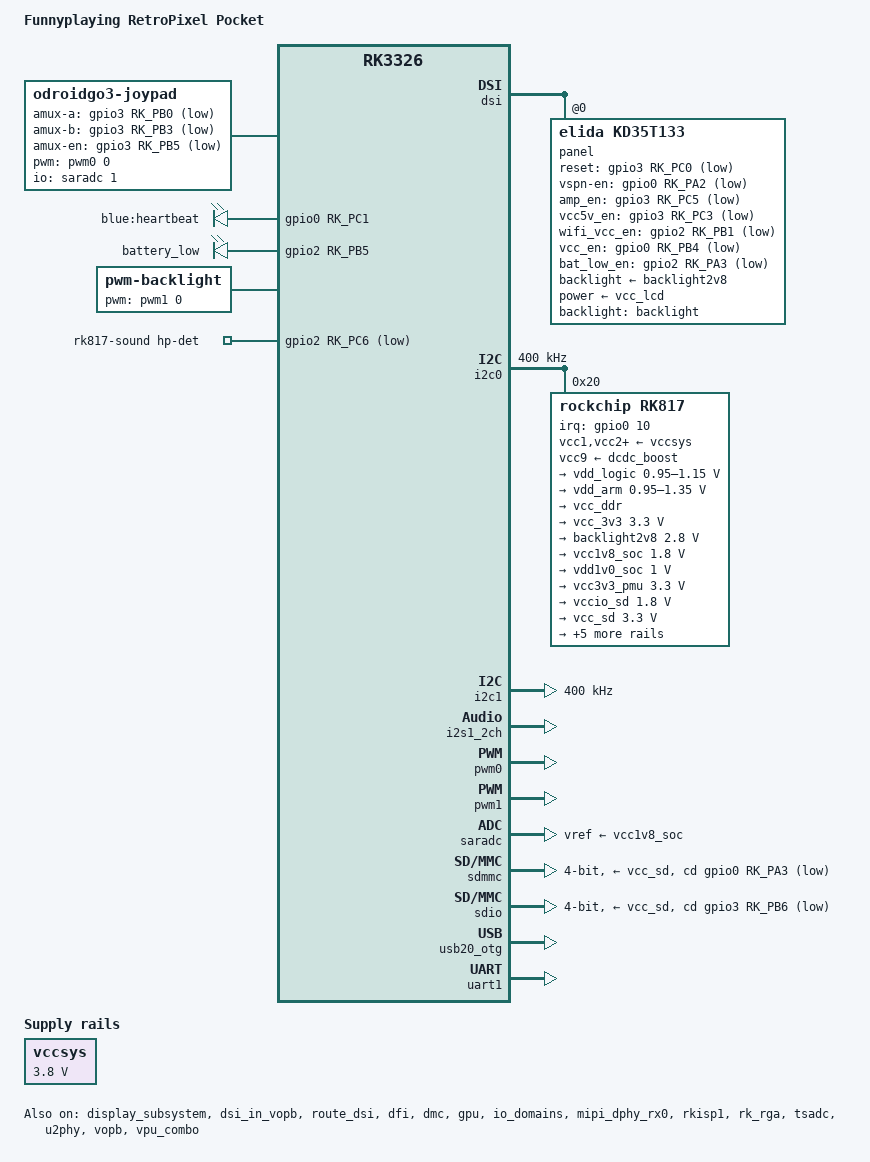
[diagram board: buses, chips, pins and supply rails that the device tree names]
// SPDX-License-Identifier: (GPL-2.0+ OR MIT)
/*
 * Copyright (c) 2020 Hardkernel Co., Ltd
 *
 * Funnyplaying RetroPixel Pocket: RK3326, 3.1in 720x720 MIPI-DSI panel.
 * Board values come from the vendor's rk3326-rppocket_v6_0-linux.dtb
 * (firmware V1.1.3), applied over the RG351MP tree this kernel already carries.
 */

/dts-v1/;
#include <dt-bindings/display/drm_mipi_dsi.h>
#include <dt-bindings/gpio/gpio.h>
#include <dt-bindings/input/input.h>
#include <dt-bindings/pinctrl/rockchip.h>
#include <dt-bindings/sensor-dev.h>
#include "rk3326.dtsi"
#include "rk3326-linux.dtsi"

/ {
	model = "Funnyplaying RetroPixel Pocket";
	compatible = "rockchip,rk3326-rppocket-linux", "rockchip,rk3326";

	chosen {
                bootargs = "";
	};

	joypad: odroidgo3-joypad {
                compatible = "odroidgo3-joypad";
                pwms = <&pwm0 0 200000000 0>;
                pwm-names = "enable";
                rumble-boost-weak = <0x0000>;
                rumble-boost-strong = <0x0000>;

                joypad-name = "GO-Super Gamepad";
                joypad-product = <0x1100>;
                joypad-revision = <0x0100>;

		status = "okay";
                /*
                  - odroidgo3-joypad sysfs list -
		   * for poll device interval(ms)
		   /sys/devices/platform/odroidgo3_joypad/poll_interval [rw]
		   ex) echo 20 > poll_interval
                   * for button-adc-fuzz
		   /sys/devices/platform/odroidgo3_joypad/adc_fuzz [r]
                   * for button-adc-flat
		   /sys/devices/platform/odroidgo3_joypad/adc_flat [r]

		   * for report control(1:enable, 0:disable)
		   /sys/devices/platform/odroidgo3_joypad/enable [rw]
		   * for adc calibration value setup(current adcs value -> cal value)
		   /sys/devices/platform/odroidgo3_joypad/adc_cal [rw]
		   ex) echo 0 > adc_cal

		   * for rumble period(ns)
		   /sys/devices/platform/odroidgo3_joypad/rumble_period
		   ex) echo 20000000 > rumble_duty_cycle
		   ex) cat rumble_duty_cycle -->get current duty cycle

		   * for rumble boost(0~65535)
		   /sys/devices/platform/odroidgo3_joypad/rumble_boost_weak
		   /sys/devices/platform/odroidgo3_joypad/rumble_boost_strong


		   * for amux data debug
		   * Joypad driver is disabled when using this sysfs.
		   /sys/devices/platform/odroidgo3_joypad/amux_debug [rw]
		   ex) echo 0 > amux_debug --> select amux channel
		   ex) cat amux_debug --> get adc data of seleted channel
                */

		/* gpio pincontrol setup */
                pinctrl-names = "default";
                pinctrl-0 = <&btn_pins>;
                pinctrl-1 = <&pwm0_pin>;

		/* Analog mux define */
		io-channel-names = "amux_adc";
		io-channels = <&saradc 1>;

		/* adc mux channel count */
		amux-count = <4>;
		/* adc mux select(a,b) gpio */
		amux-a-gpios = <&gpio3 RK_PB0 GPIO_ACTIVE_LOW>;
		amux-b-gpios = <&gpio3 RK_PB3 GPIO_ACTIVE_LOW>;
		/* adc mux enable gpio */
		amux-en-gpios = <&gpio3 RK_PB5 GPIO_ACTIVE_LOW>;

		/* adc calculate scale */
		button-adc-scale = <2>;

		/* adc deadzone range  */
		button-adc-deadzone = <64>;

		/*
		  specifies fuzz value that is used to filter noise from
		  the event stream.
		*/
		button-adc-fuzz = <32>;
		button-adc-flat = <32>;

		/*
		  Analog Stick data tuning value(precent)
		  p = positive direction, n = negative direction
		  report value = (real_adc_data * tuning_value) / 100
		*/
		abs_x-p-tuning = <200>;
		abs_x-n-tuning = <200>;

		abs_y-p-tuning = <200>;
		abs_y-n-tuning = <200>;

		abs_rx-p-tuning = <200>;
		abs_rx-n-tuning = <200>;

		abs_ry-p-tuning = <200>;
		abs_ry-n-tuning = <200>;

		/* poll device interval (ms), adc read interval */
		poll-interval = <10>;

		/* required for RG351MP */
		invert-absx;
		invert-absy;

		/* gpio button auto repeat set value : default disable */
		/*
			autorepeat;
		*/

		/*
		      *** ODROIDGO3-Advance Switch layoout ***
		|------------------------------------------------|
		| sw15  sw21        sw10   sw9        sw20  sw16 |
		|------------------------------------------------|
		|      sw19                            sw22      |
		|              |-------------------|             |
		|     sw1      |                   |      sw8    |
		|  sw3   sw4   |                   |   sw7   sw5 |
		|     sw2      |    LCD Display    |      sw6    |
		|              |                   |             |
		|              |                   |             |
		|              |-------------------|             |
		|  sw11 sw12        | sd-slot |       sw13 sw14  |
		|-------------------|         |------------------|
		*/
                /*
                    joypad driver is poll-device driver.
                    poll-device is does not support wakeup-source.
		*/
                sw1 {
                        gpios = <&gpio1 RK_PB4 GPIO_ACTIVE_LOW>;
                        label = "GPIO DPAD-UP";
                        linux,code = <BTN_DPAD_UP>; // 0x220
                };
                sw2 {
                        gpios = <&gpio1 RK_PB5 GPIO_ACTIVE_LOW>;
                        label = "GPIO DPAD-DOWN";
                        linux,code = <BTN_DPAD_DOWN>; // 0x221
                };
                sw3 {
                        gpios = <&gpio1 RK_PB6 GPIO_ACTIVE_LOW>;
                        label = "GPIO DPAD-LEFT";
                        linux,code = <BTN_DPAD_LEFT>; // 0x222
                };
                sw4 {
                        gpios = <&gpio1 RK_PB7 GPIO_ACTIVE_LOW>;
                        label = "GPIO DPAD-RIGHT";
                        linux,code = <BTN_DPAD_RIGHT>; // 0x223
                };
                sw5 {
                        gpios = <&gpio1 RK_PA2 GPIO_ACTIVE_LOW>;
                        label = "GPIO KEY BTN-A";
                        linux,code = <BTN_EAST>; // 0x131
                };
                sw6 {
                        gpios = <&gpio1 RK_PA5 GPIO_ACTIVE_LOW>;
                        label = "GPIO BTN-B";
                        linux,code = <BTN_SOUTH>; // 0x130
                };
                sw7 {
                        gpios = <&gpio1 RK_PA6 GPIO_ACTIVE_LOW>;
                        label = "GPIO BTN-Y";
                        linux,code = <BTN_WEST>; // 0x134
                };
                sw8 {
                        gpios = <&gpio1 RK_PA7 GPIO_ACTIVE_LOW>;
                        label = "GPIO BTN-X";
                        linux,code = <BTN_NORTH>; // 0x133
                };
                sw11 {
                        gpios = <&gpio2 RK_PA2 GPIO_ACTIVE_LOW>;
                        label = "GPIO F3";
                        linux,code = <BTN_TRIGGER_HAPPY3>; // 0x2c2
                };
                sw12 {
                        gpios = <&gpio2 RK_PA4 GPIO_ACTIVE_LOW>;
                        label = "GPIO F4";
                        linux,code = <BTN_TRIGGER_HAPPY4>; // 0x2c3
                };
                /*sw14 {
                        gpios = <&gpio2 RK_PA5 GPIO_ACTIVE_LOW>;
                        label = "GPIO F6";
                        linux,code = <BTN_TRIGGER_HAPPY6>; // 0x13c
                };*/
                sw15 {
                        gpios = <&gpio2 RK_PA6 GPIO_ACTIVE_LOW>;
                        label = "GPIO TOP-LEFT";
                        linux,code = <BTN_TL>; // 0x02
                };
                sw16 {
                        gpios = <&gpio2 RK_PA7 GPIO_ACTIVE_LOW>;
                        label = "GPIO TOP-RIGHT";
                        linux,code = <BTN_TR>; // 0x05
                };
                sw19 {
                        gpios = <&gpio3 RK_PB1 GPIO_ACTIVE_LOW>;
                        label = "GPIO F1";
                        linux,code = <BTN_TRIGGER_HAPPY1>;
                };
                sw20 {
                        gpios = <&gpio3 RK_PB7 GPIO_ACTIVE_LOW>;
                        label = "GPIO TOP-RIGHT2";
                        linux,code = <BTN_TR2>;
                };
                sw21 {
                        gpios = <&gpio3 RK_PB2 GPIO_ACTIVE_LOW>;
                        label = "GPIO TOP-LEFT2";
                        linux,code = <BTN_TL2>;
                };
                sw22 {
                        gpios = <&gpio3 RK_PB4 GPIO_ACTIVE_LOW>;
                        label = "GPIO F2";
                        linux,code = <BTN_TRIGGER_HAPPY2>;
                };
                backup {
                        gpios = <&gpio2 RK_PA0 GPIO_ACTIVE_LOW>;
                        label = "GPIO BACKUP";
                        linux,code = <BTN_TRIGGER_HAPPY5>; // 0x2c4
                };
                backdown {
                        gpios = <&gpio2 RK_PA1 GPIO_ACTIVE_LOW>;
                        label = "GPIO BACKDOWN";
                        linux,code = <BTN_TRIGGER_HAPPY6>; // 0x2c5
                };
        };

	fiq-debugger {
		compatible = "rockchip,fiq-debugger";
		rockchip,serial-id = <2>;
		rockchip,wake-irq = <0>;
		/* If enable uart uses irq instead of fiq */
		rockchip,irq-mode-enable = <0>;
		rockchip,baudrate = <115200>;  /* Only 115200 and 1500000 */
		interrupts = <GIC_SPI 127 IRQ_TYPE_LEVEL_LOW>;
		pinctrl-names = "default";
		pinctrl-0 = <&uart2m1_xfer>;
		status = "okay";
	};

	leds: gpio_leds {
		compatible = "gpio-leds";

		pinctrl-names = "led_pins";
		pinctrl-0 = <&led_pins>;

		/* Blue LED : GPIO0_C1 */
		heartbeat {
			label = "blue:heartbeat";
			gpios = <&gpio0 RK_PC1 GPIO_ACTIVE_HIGH>;
			linux,default-trigger = "heartbeat";
		};

		/* Low-battery LED */
		battery {
			label = "battery_low";
			gpios = <&gpio2 RK_PB5 GPIO_ACTIVE_HIGH>;
			default-state = "off";
		};
	};

	backlight: backlight {
		compatible = "pwm-backlight";
		pwms = <&pwm1 0 62745 0>;
		brightness-levels = <
			100  99  98  97  96  95  94  93
			 92  91  90  89  88  87  86  85
			 84  83  82  81  80  79  78  77
			 76  75  74  73  72  71  70  69
			 68  67  66  65  64  63  62  61
			 60  59  58  57  56  55  54  53
			 52  51  50  49  48  47  46  45
			 44  43  42  41  40  39  38  37
			 36  35  34  33  32  31  30  29
			 28  27  26  25  24  23  22  21
			 20  19  18  17  16  15  14  13
			 12  11  10   9   8   7   6   5
			  4   3   2   1 >;
		default-brightness-level = <51>;
	};

	rk817-sound {
		compatible = "simple-audio-card";
		simple-audio-card,format = "i2s";
		simple-audio-card,name = "rockchip,rk817-codec";
		simple-audio-card,mclk-fs = <256>;
		simple-audio-card,widgets =
			"Microphone", "Mic Jack",
			"Headphone", "Headphone Jack";
		simple-audio-card,routing =
			"MIC_IN", "Mic Jack",
			/*"IN1P", "Mic Jack",*/
			"Headphone Jack", "HPOL",
			"Headphone Jack", "HPOR";
		simple-audio-card,hp-det-gpio = <&gpio2 RK_PC6 GPIO_ACTIVE_LOW>;
		simple-audio-card,codec-hp-det = <1>;
		simple-audio-card,cpu {
			sound-dai = <&i2s1_2ch>;
		};
		simple-audio-card,codec {
			sound-dai = <&rk817_codec>;
		};
	};

	vccsys: vccsys {
		compatible = "regulator-fixed";
		regulator-name = "vcc3v8_sys";
		regulator-always-on;
		regulator-min-microvolt = <3800000>;
		regulator-max-microvolt = <3800000>;
	};

};

&bus_apll {
	bus-supply = <&vdd_logic>;
	status = "okay";
};

&cpu0 {
	cpu-supply = <&vdd_arm>;
};

&cpu0_opp_table {
	rockchip,avs = <1>;

	/* bin scaling clock 1.296MHz */
	rockchip,bin-scaling-sel = <
		0               13
		1               13
	>;

	/delete-node/ opp-1416000000;
	/delete-node/ opp-1512000000;
};

&display_subsystem {
	status = "okay";
};

&dsi {
	status = "okay";

	panel@0 {
		compatible = "elida,kd35t133", "simple-panel-dsi";
		reg = <0>;
		pinctrl-names = "default";
		pinctrl-0 = <&lcd_rst_gpio>;

		/* pwm1 backlight */
		backlight = <&backlight>;
		/* RK817 LDO1 (backlight 2.8V) */
		backlight-supply = <&backlight2v8>;
		/* RK817 LDO8 (LCD 1.8V). LDO7, the LCD 2.8V rail, is regulator-always-on. */
		power-supply = <&vcc_lcd>;

		/* LCD reset gpio GPIO3.C0 */
		reset-gpios = <&gpio3 RK_PC0 GPIO_ACTIVE_LOW>;

		/*
		 * Enables the vendor kernel's panel driver switches (LCD bias, audio amp,
		 * 5V boost, Wi-Fi power). The panel driver in this kernel does not read
		 * them; they are kept here so a driver patch can.
		 */
		vspn-en = <&gpio0 RK_PA2 GPIO_ACTIVE_LOW>;
		amp_en_gpio = <&gpio3 RK_PC5 GPIO_ACTIVE_LOW>;
		vcc5v_en_gpio = <&gpio3 RK_PC3 GPIO_ACTIVE_LOW>;
		wifi_vcc_en_gpio = <&gpio2 RK_PB1 GPIO_ACTIVE_LOW>;
		vcc_en_gpio = <&gpio0 RK_PB4 GPIO_ACTIVE_LOW>;
		bat_low_en_gpio = <&gpio2 RK_PA3 GPIO_ACTIVE_LOW>;

		prepare-delay-ms = <2>;
		reset-delay-ms = <1>;
		init-delay-ms = <1>;
		enable-delay-ms = <120>;
		disable-delay-ms = <70>;
		unprepare-delay-ms = <20>;

		/* LCD size */
		width-mm = <51>;
		height-mm = <51>;

		dsi,flags = <(MIPI_DSI_MODE_VIDEO           |
			      MIPI_DSI_MODE_VIDEO_BURST     |
			      MIPI_DSI_MODE_LPM             |
			      MIPI_DSI_MODE_EOT_PACKET)>;

		dsi,format = <MIPI_DSI_FMT_RGB888>;
		dsi,lanes = <2>;
		/*
			- panel-init-sequence data description -
			  mipi_cmd, delay(ms), len, lcd_cmd, lcd_data...

			- mipi_cmd description -
			  05 : MIPI_DSI_SHORT_WRITE
			  15 : MIPI_DSI_SHORT_WRITE_PARAM
			  39 : MIPI_DSI_LONG_WRITE
		*/
		panel-init-sequence = [
			05 05 01 01
			15 05 02 b0 00
			39 00 06 e4 00 00 00 00 08
			39 00 04 d0 45 45 71
			15 78 02 6f 01
			05 78 01 11
			39 00 04 d0 52 4a 71
			39 00 09 be ff 0f 00 18 04 04 00 5d
			15 00 02 bb 2f
			15 14 02 b0 2f
			05 78 01 29
		];

		panel-exit-sequence = [
			05 20 01 01
			05 20 01 10
			05 78 01 28
		];

		display-timings {
			native-mode = <&timing0>;

			timing0: 60Hz {
				clock-frequency = <35000000>;
				hactive = <720>;
				vactive = <720>;
				hfront-porch = <21>;
				hsync-len = <2>;
				hback-porch = <24>;
				vfront-porch = <25>;
				vsync-len = <5>;
				vback-porch = <0>;
				hsync-active = <0>;
				vsync-active = <0>;
				de-active = <0>;
				pixelclk-active = <0>;
			};
		};
	};
};

&dsi_in_vopb {
	status = "okay";
};

&route_dsi {
	connect = <&vopb_out_dsi>;
	status = "okay";
};

&dfi {
	status = "okay";
};

&dmc {
	center-supply = <&vdd_logic>;
	status = "okay";
};

&dmc_opp_table {
	/delete-node/ opp-194000000;
	/delete-node/ opp-328000000;
	/delete-node/ opp-450000000;

	opp-786000000 {
		status = "okay";
	};
};

&gpu_opp_table {
	/delete-node/ opp-200000000;
	/delete-node/ opp-300000000;
};

&emmc {
	status = "disabled";
};

&sfc {
	status = "disabled";
};

&gpu {
	mali-supply = <&vdd_logic>;
	status = "okay";
};

&i2c0 {
	status = "okay";
	clock-frequency = <400000>;
	i2c-scl-rising-time-ns = <280>;
	i2c-scl-falling-time-ns = <16>;

	rk817: pmic@20 {
		compatible = "rockchip,rk817";
		reg = <0x20>;
		interrupt-parent = <&gpio0>;
		interrupts = <10 IRQ_TYPE_LEVEL_LOW>;
		pinctrl-names = "default", "pmic-sleep",
				"pmic-power-off", "pmic-reset";
		pinctrl-0 = <&pmic_int>;
		pinctrl-1 = <&soc_slppin_slp>, <&rk817_slppin_slp>;
		pinctrl-2 = <&soc_slppin_gpio>, <&rk817_slppin_pwrdn>;
		pinctrl-3 = <&soc_slppin_rst>, <&rk817_slppin_rst>;
		rockchip,system-power-controller;
		wakeup-source;
		#clock-cells = <1>;
		clock-output-names = "rk808-clkout1", "rk808-clkout2";
		//fb-inner-reg-idxs = <2>;

		/* 1: rst regs (default in codes), 0: rst the pmic */
		pmic-reset-func = <1>;

		vcc1-supply = <&vccsys>;
		vcc2-supply = <&vccsys>;
		vcc3-supply = <&vccsys>;
		vcc4-supply = <&vccsys>;
		vcc5-supply = <&vccsys>;
		vcc6-supply = <&vccsys>;
		vcc7-supply = <&vccsys>;
		vcc8-supply = <&vccsys>;
		vcc9-supply = <&dcdc_boost>;

		pwrkey {
			status = "okay";
		};

		pinctrl_rk8xx: pinctrl_rk8xx {
			gpio-controller;
			#gpio-cells = <2>;

			rk817_ts_gpio1: rk817_ts_gpio1 {
				pins = "gpio_ts";
				function = "pin_fun1";
				/* output-low; */
				/* input-enable; */
			};

			rk817_gt_gpio2: rk817_gt_gpio2 {
				pins = "gpio_gt";
				function = "pin_fun1";
			};

			rk817_pin_ts: rk817_pin_ts {
				pins = "gpio_ts";
				function = "pin_fun0";
			};

			rk817_pin_gt: rk817_pin_gt {
				pins = "gpio_gt";
				function = "pin_fun0";
			};

			rk817_slppin_null: rk817_slppin_null {
				pins = "gpio_slp";
				function = "pin_fun0";
			};

			rk817_slppin_slp: rk817_slppin_slp {
				pins = "gpio_slp";
				function = "pin_fun1";
			};

			rk817_slppin_pwrdn: rk817_slppin_pwrdn {
				pins = "gpio_slp";
				function = "pin_fun2";
			};

			rk817_slppin_rst: rk817_slppin_rst {
				pins = "gpio_slp";
				function = "pin_fun3";
			};
		};

		regulators {
			vdd_logic: DCDC_REG1 {
				regulator-always-on;
				regulator-boot-on;
				regulator-min-microvolt = <950000>;
				regulator-max-microvolt = <1150000>;
				regulator-ramp-delay = <6001>;
				regulator-initial-mode = <0x2>;
				regulator-name = "vdd_logic";
				regulator-state-mem {
					regulator-on-in-suspend;
					regulator-suspend-microvolt = <950000>;
				};
			};

			vdd_arm: DCDC_REG2 {
				regulator-always-on;
				regulator-boot-on;
				regulator-min-microvolt = <950000>;
				regulator-max-microvolt = <1350000>;
				regulator-ramp-delay = <6001>;
				regulator-initial-mode = <0x2>;
				regulator-name = "vdd_arm";
				regulator-state-mem {
					regulator-off-in-suspend;
					regulator-suspend-microvolt = <950000>;
				};
			};

			vcc_ddr: DCDC_REG3 {
				regulator-always-on;
				regulator-boot-on;
				regulator-initial-mode = <0x2>;
				regulator-name = "vcc_ddr";
				regulator-state-mem {
					regulator-on-in-suspend;
				};
			};

			vcc_3v3: DCDC_REG4 {
				regulator-always-on;
				regulator-boot-on;
				regulator-min-microvolt = <3300000>;
				regulator-max-microvolt = <3300000>;
				regulator-initial-mode = <0x2>;
				regulator-name = "vcc_3v3";
				regulator-state-mem {
					regulator-off-in-suspend;
					regulator-suspend-microvolt = <3300000>;
				};
			};

			/* Not Used */
			backlight2v8: LDO_REG1 {
				regulator-min-microvolt = <2800000>;
				regulator-max-microvolt = <2800000>;
				regulator-name = "backlight2v8_supply";
				regulator-state-mem {
					regulator-off-in-suspend;
					regulator-suspend-microvolt = <2800000>;
				};
			};

			vcc1v8_soc: LDO_REG2 {
				regulator-always-on;
				regulator-boot-on;
				regulator-min-microvolt = <1800000>;
				regulator-max-microvolt = <1800000>;

				regulator-name = "vcc1v8_soc";
				regulator-state-mem {
					regulator-on-in-suspend;
					regulator-suspend-microvolt = <1800000>;
				};
			};

			vdd1v0_soc: LDO_REG3 {
				regulator-always-on;
				regulator-boot-on;
				regulator-min-microvolt = <1000000>;
				regulator-max-microvolt = <1000000>;

				regulator-name = "vcc1v0_soc";
				regulator-state-mem {
					regulator-on-in-suspend;
					regulator-suspend-microvolt = <1000000>;
				};
			};

			vcc3v3_pmu: LDO_REG4 {
				regulator-always-on;
				regulator-boot-on;
				regulator-min-microvolt = <3300000>;
				regulator-max-microvolt = <3300000>;

				regulator-name = "vcc3v3_pmu";
				regulator-state-mem {
					regulator-on-in-suspend;
					regulator-suspend-microvolt = <3300000>;

				};
			};

			vccio_sd: LDO_REG5 {
				regulator-always-on;
				regulator-boot-on;
				regulator-min-microvolt = <1800000>;
				regulator-max-microvolt = <1800000>;

				regulator-name = "vccio_sd";
				regulator-state-mem {
					regulator-on-in-suspend;
					regulator-suspend-microvolt = <1800000>;
				};
			};

			vcc_sd: LDO_REG6 {
				regulator-min-microvolt = <3300000>;
				regulator-max-microvolt = <3300000>;
				regulator-boot-on;

				regulator-name = "vcc_sd";
				regulator-state-mem {
					regulator-on-in-suspend;
					regulator-suspend-microvolt = <3300000>;

				};
			};

			/* Rev 0.2 LCD Backlight Power */
			/* LCD 2.8V rail; only the vendor panel driver switches it, so keep it on */
			lcd2v8: LDO_REG7 {
				regulator-always-on;
				regulator-boot-on;
				regulator-min-microvolt = <2800000>;
				regulator-max-microvolt = <2800000>;
				regulator-name = "lcd2v8_supply";
				regulator-state-mem {
					regulator-off-in-suspend;
					regulator-suspend-microvolt = <2800000>;
				};
			};

			/* LCD IO power */
			vcc_lcd: LDO_REG8 {
				regulator-min-microvolt = <1800000>;
				regulator-max-microvolt = <1800000>;
				regulator-name = "vcc_lcd";
				regulator-state-mem {
					regulator-off-in-suspend;
					regulator-suspend-microvolt = <1800000>;
				};
			};

			/* Wi-Fi module supply */
			vcc_wifi: LDO_REG9 {
				regulator-always-on;
				regulator-boot-on;
				regulator-min-microvolt = <3300000>;
				regulator-max-microvolt = <3300000>;
				regulator-name = "vcc_wifi";
				regulator-state-mem {
					regulator-off-in-suspend;
					regulator-suspend-microvolt = <3300000>;
				};
			};



			dcdc_boost: BOOST {
				regulator-always-on;
				regulator-boot-on;
				regulator-min-microvolt = <5000000>;
				regulator-max-microvolt = <5400000>;
				regulator-name = "boost";
			};

			otg_switch: OTG_SWITCH {
				regulator-boot-on;
				regulator-name = "otg_switch";
			};
		};

		battery {
			compatible = "rk817,battery";
			ocv_table = <3400 3599 3671 3701 3728 3746 3762
			3772 3781 3792 3816 3836 3866 3910
			3942 3971 4002 4050 4088 4132 4183>;


			/* KPL605475 Battery Spec */
			/*
				Capacity : 3.7V 3000mA
				Normal Voltage = 3.7V
				Cut-Off Voltage : 3.1V
				Internal Impedance : 180 mOhm
				Charging Voltage : 4.2V
				Charging Voltage Max : 4.25V
				Sample resister : 10 mohm
			*/
			design_capacity = <3000>;
			design_qmax = <3300>;
			bat_res = <100>;
			sleep_enter_current = <300>;
			sleep_exit_current = <300>;
			sleep_filter_current = <100>;
			power_off_thresd = <3400>;
			zero_algorithm_vol = <3850>;
			max_soc_offset = <60>;
			monitor_sec = <5>;
			virtual_power = <0>;
			sample_res = <10>;
		};

		charger {
			compatible = "rk817,charger";
			min_input_voltage = <4500>;
			max_input_current = <1500>;
			max_chrg_current = <2000>;
			max_chrg_voltage = <4200>;
			chrg_term_mode = <0>;
			chrg_finish_cur = <52>;
			virtual_power = <0>;
			sample_res = <10>;

			/* P.C.B rev0.2 DC Detect & Charger Status LED GPIO */
			dc_det_gpio  = <&gpio0 RK_PB3 GPIO_ACTIVE_HIGH>;
			bat_low_gpio = <&gpio2 RK_PC0 GPIO_ACTIVE_HIGH>;

			extcon = <&u2phy>;
		};

		rk817_codec: codec {
			#sound-dai-cells = <0>;
			compatible = "rockchip,rk817-codec";
			clocks = <&cru SCLK_I2S1_OUT>;
			clock-names = "mclk";
			pinctrl-names = "default";
			pinctrl-0 = <&i2s1_2ch_mclk>;
			hp-volume = <20>;
			spk-volume = <3>;
			status = "okay";
		};
	};
};

/* EXT Header(P2) : 7(SCL:GPIO0.C2), 8(SDA:GPIO0.C3) */
&i2c1 {
	status = "okay";
	clock-frequency = <400000>;
};

/* MIPI CSI I2C */
&i2c2 {
	status = "disabled";
};

/* I2S 1 Channel Used */
&i2s1_2ch {
	status = "okay";
	#sound-dai-cells = <0>;
};

&io_domains {
	/* GRF Register Voltage select control */
	status = "okay";

	/* SDIO I/O Voltage */
	vccio1-supply = <&vccio_sd>;
	/* SDMMC I/O Voltage */
	vccio2-supply = <&vccio_sd>;
	/* CAM I/O Voltage */
	vccio3-supply = <&vcc_3v3>;
	/* LVDS/LCDC I/O Voltage */
	vccio4-supply = <&vcc_3v3>;
	/* I2S I/O Voltage */
	vccio5-supply = <&vcc_3v3>;
	/* eMMC I/O Voltage */
	vccio6-supply = <&vcc_3v3>;
};

&isp_mmu {
	status = "okay";
};

&mipi_dphy_rx0 {
	status = "okay";
};

&rkisp1 {
	status = "okay";
};

&spi0 {
	status = "disabled";
};

&pmu_io_domains {
	/* PMU GRF Register Voltage select control */
	status = "okay";

	/* PMU I/O Voltage */
	pmuio1-supply = <&vcc3v3_pmu>;
	/* GPIO0_B/GPIO0_C, Flash */
	pmuio2-supply = <&vcc3v3_pmu>;
};

/* Rumble PWM */
&pwm0 {
	status = "okay";
};

/* LCD Backlight PWM */
&pwm1 {
	status = "okay";
};

&rk_rga {
	status = "okay";
};

&rockchip_suspend {
	status = "okay";
	rockchip,sleep-debug-en = <1>;
};

&saradc {
	status = "okay";
	vref-supply = <&vcc1v8_soc>;
};

&sdmmc {
	bus-width = <4>;
	cap-mmc-highspeed;
	cap-sd-highspeed;
	supports-sd;
	card-detect-delay = <800>;
	ignore-pm-notify;
	cd-gpios = <&gpio0 RK_PA3 GPIO_ACTIVE_LOW>; /*[> CD GPIO <]*/
	sd-uhs-sdr12;
	sd-uhs-sdr25;
	sd-uhs-sdr50;
	sd-uhs-sdr104;
	vqmmc-supply = <&vccio_sd>;
	vmmc-supply = <&vcc_sd>;
	status = "okay";
};

&sdio {
	bus-width = <4>;
	cap-mmc-highspeed;
	cap-sd-highspeed;
	supports-sd;
	card-detect-delay = <800>;
	ignore-pm-notify;
	cd-gpios = <&gpio3 RK_PB6 GPIO_ACTIVE_LOW>; /*[> CD GPIO <]*/
	sd-uhs-sdr12;
	sd-uhs-sdr25;
	sd-uhs-sdr50;
	sd-uhs-sdr104;
	vqmmc-supply = <&vccio_sd>;
	vmmc-supply = <&vcc_sd>;
	status = "okay";
};

&tsadc {
	pinctrl-names = "gpio", "otpout";
	pinctrl-0 = <&tsadc_otp_gpio>;
	pinctrl-1 = <&tsadc_otp_out>;
	status = "okay";
};

&u2phy {
	status = "okay";

	u2phy_host: host-port {
		status = "okay";
	};

	u2phy_otg: otg-port {
		status = "disabled";
	};
};

&usb20_otg {
	status = "okay";
};

/*
	EXT Header(P2) UART :
	2(RXD:GPIO1.C0),3(TXD:GPIO1.C1),4(CTS:GPIO1.C2),5(RTS:GPIO1.C3)
*/
&uart1 {
	pinctrl-names = "default";
	pinctrl-0 = <&uart1_xfer &uart1_cts>;
	status = "okay";
};

&vip_mmu {
	status = "okay";
};

&vopb {
	status = "okay";
};

&vopb_mmu {
	status = "okay";
};

&vpu_combo {
	status = "okay";
};

&pinctrl {
	pmic {
		/* ODROID-GO2 : PMIC_INT(GPIO0.PB2) */
		pmic_int: pmic_int {
			rockchip,pins =
				<0 RK_PB2 RK_FUNC_GPIO &pcfg_pull_up>,
				<0 RK_PB3 RK_FUNC_GPIO &pcfg_pull_none>;
		};

		/* ODROID-GO2 : PMIC_SLEEP(GPIO0.PA4) */
		soc_slppin_gpio: soc_slppin_gpio {
			rockchip,pins =
				<0 RK_PA4 RK_FUNC_GPIO &pcfg_output_low>;
		};

		soc_slppin_slp: soc_slppin_slp {
			rockchip,pins =
				<0 RK_PA4 RK_FUNC_1 &pcfg_pull_none>;
		};

		soc_slppin_rst: soc_slppin_rst {
			rockchip,pins =
				<0 RK_PA4 RK_FUNC_2 &pcfg_pull_none>;
		};
	};

	leds {
		led_pins: led-pins {
			rockchip,pins = <0 RK_PC1 RK_FUNC_GPIO &pcfg_pull_none>;
		};
	};
	lcd_rst {
		lcd_rst_gpio: lcd-rst-gpio {
			rockchip,pins = <3 RK_PC0 RK_FUNC_GPIO &pcfg_pull_none>,
					<0 RK_PA2 RK_FUNC_GPIO &pcfg_pull_none>,
					<3 RK_PC5 RK_FUNC_GPIO &pcfg_pull_none>,
					<3 RK_PC3 RK_FUNC_GPIO &pcfg_pull_none>,
					<2 RK_PB1 RK_FUNC_GPIO &pcfg_pull_up>,
					<0 RK_PA0 RK_FUNC_GPIO &pcfg_pull_up>,
					<0 RK_PB4 RK_FUNC_GPIO &pcfg_pull_up>;
		};
	};
	btns {
		btn_pins: btn-pins {
			rockchip,pins = <1 RK_PB4 RK_FUNC_GPIO &pcfg_pull_up>,
					<1 RK_PB5 RK_FUNC_GPIO &pcfg_pull_up>,
					<1 RK_PB6 RK_FUNC_GPIO &pcfg_pull_up>,
					<1 RK_PB7 RK_FUNC_GPIO &pcfg_pull_up>,
					<1 RK_PA2 RK_FUNC_GPIO &pcfg_pull_up>,
					<1 RK_PA5 RK_FUNC_GPIO &pcfg_pull_up>,
					<1 RK_PA6 RK_FUNC_GPIO &pcfg_pull_up>,
					<1 RK_PA7 RK_FUNC_GPIO &pcfg_pull_up>,

					<2 RK_PA0 RK_FUNC_GPIO &pcfg_pull_up>,
					<2 RK_PA1 RK_FUNC_GPIO &pcfg_pull_up>,
					<2 RK_PA2 RK_FUNC_GPIO &pcfg_pull_up>,
					<2 RK_PA3 RK_FUNC_GPIO &pcfg_pull_up>,
					<2 RK_PA4 RK_FUNC_GPIO &pcfg_pull_up>,
					<2 RK_PA5 RK_FUNC_GPIO &pcfg_pull_up>,
					<2 RK_PA6 RK_FUNC_GPIO &pcfg_pull_up>,
					<2 RK_PA7 RK_FUNC_GPIO &pcfg_pull_up>,
					<3 RK_PB1 RK_FUNC_GPIO &pcfg_pull_up>,
					<3 RK_PB2 RK_FUNC_GPIO &pcfg_pull_up>,
					<3 RK_PB4 RK_FUNC_GPIO &pcfg_pull_up>,
					<3 RK_PB7 RK_FUNC_GPIO &pcfg_pull_up>;
		};
	};
};

/* DON'T PUT ANYTHING BELOW HERE.  PUT IT ABOVE PINCTRL */
/* DON'T PUT ANYTHING BELOW HERE.  PUT IT ABOVE PINCTRL */
/* DON'T PUT ANYTHING BELOW HERE.  PUT IT ABOVE PINCTRL */
